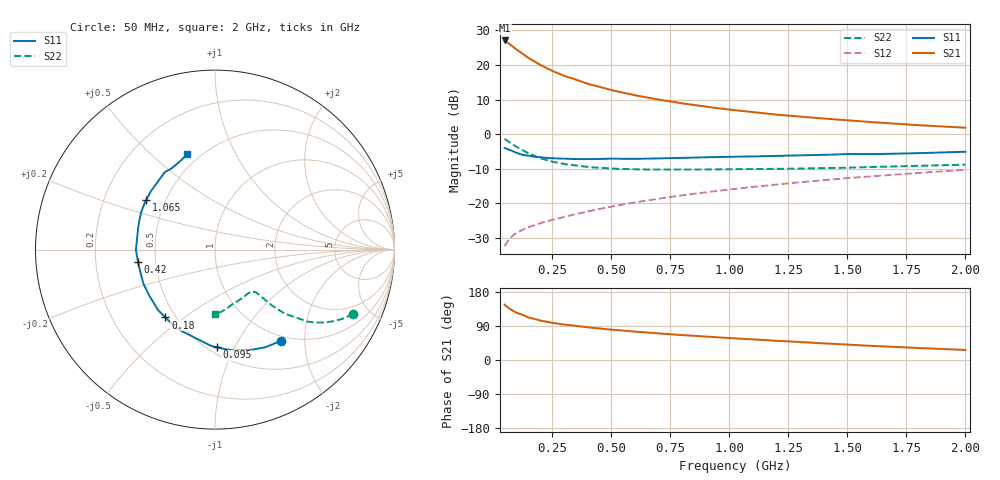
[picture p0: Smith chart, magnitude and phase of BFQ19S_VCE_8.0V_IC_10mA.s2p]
! Infineon Technologies  Discrete & RF Semiconductors
! BFQ19S
! VCE =  8.0 V,  IC =  10 mA
! Common Emitter S-Parameters:  Jan 2016
# GHz  S  MA  R  50
!  f  S11  S21  S12  S22
! GHz  MAG  ANG  MAG  ANG  MAG  ANG  MAG  ANG
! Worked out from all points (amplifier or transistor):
!   391 points, 50 MHz to 2 GHz, reference 50 ohm
!   highest |S21| = 27.1 dB at 50 MHz (marker M1)
!   |S21| within 3 dB of that: start of sweep to 108.4 MHz
!   unconditionally stable (mu >= 1): 516.6 MHz to 1.434 GHz
!   at 375 MHz: K = 0.92, MSG = 19.0 dB, |S12| = -22.8 dB
!   at 1.025 GHz: K = 1.05, MAG = 10.1 dB, |S12| = -15.9 dB
!   at 2 GHz: K = 0.90, MSG = 6.1 dB, |S12| = -10.4 dB
!   S11 on the Smith chart (normalised r, x): 50 MHz: 0.92, -1.55; 95 MHz: 0.55, -0.85; 180 MHz: 0.44, -0.43; 420 MHz: 0.40, -0.07; 1.065 GHz: 0.39, +0.28; 2 GHz: 0.43, +0.66
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0.05  0.6285 -54.0  22.66 145.8  0.0238 67.2  0.8506 -25.0
0.06  0.6116 -63.0  21.44 140.7  0.0271 64.0  0.808 -28.5
0.07  0.5913 -71.6  20.2 136.0  0.0302 61.7  0.7663 -31.5
0.08  0.5739 -79.0  19.02 131.7  0.0327 59.7  0.7261 -34.0
0.095  0.5445 -88.9  17.31 126.4  0.036 57.3  0.6704 -37.0
0.1  0.5375 -92.2  16.77 124.6  0.037 56.6  0.653 -37.9
0.15  0.4887 -116.2  12.67 112.3  0.0447 54.0  0.5255 -42.6
0.18  0.4681 -126.2  11.07 107.8  0.0485 53.8  0.4789 -43.6
0.2  0.4629 -133.3  10.05 104.1  0.0511 53.7  0.448 -44.4
0.25  0.4469 -145.1  8.252 98.1  0.0569 55.1  0.3987 -45.1
0.3  0.4417 -154.7  7.005 93.5  0.0629 56.0  0.3688 -45.4
0.375  0.4337 -165.2  5.758 88.3  0.0725 58.0  0.3419 -45.9
0.42  0.4344 -171.0  5.15 85.1  0.0783 59.0  0.3296 -46.4
0.5  0.4408 -179.6  4.346 80.1  0.0887 60.5  0.3166 -47.5
0.6  0.4381 172.5  3.652 74.9  0.102 61.5  0.308 -49.6
0.7  0.4441 165.4  3.161 70.2  0.1157 62.5  0.3061 -52.1
0.895  0.4601 153.9  2.508 61.8  0.1426 62.7  0.3069 -57.7
1.03  0.4703 145.9  2.207 56.8  0.1615 62.3  0.3096 -61.6
1.065  0.4721 144.3  2.144 55.6  0.1665 62.1  0.3102 -62.7
1.35  0.4933 130.6  1.733 45.7  0.2077 60.5  0.3181 -71.1
1.675  0.5173 116.1  1.436 35.3  0.2551 57.3  0.3378 -80.2
2  0.5548 106.1  1.236 26.5  0.3036 53.9  0.3604 -90.1
